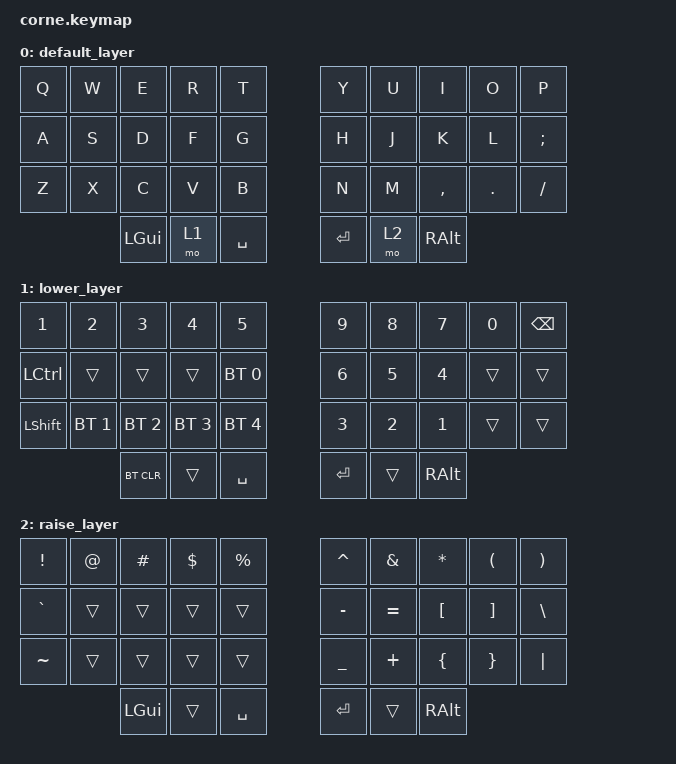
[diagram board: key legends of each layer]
#include <behaviors.dtsi>
#include <dt-bindings/zmk/keys.h>
#include <dt-bindings/zmk/bt.h>

/ {
        chosen {
                zmk,physical-layout = &foostan_corne_5col_layout;
              };

        keymap {
                compatible = "zmk,keymap";

                default_layer {
// -----------------------------------------------------------------------------------------
//  |  Q  |  W  |  E  |  R  |  T  |   |  Y  |  U   |  I  |  O  |  P  |
//  |  A  |  S  |  D  |  F  |  G  |   |  H  |  J   |  K  |  L  |  ;  |
//  |  Z  |  X  |  C  |  V  |  B  |   |  N  |  M   |  ,  |  .  |  /  |
//              | GUI | LWR | SPC |   | ENT | RSE  | ALT |
                        bindings = <
   &kp Q &kp W &kp E    &kp R &kp T       &kp Y   &kp U &kp I     &kp O   &kp P    
   &kp A &kp S &kp D    &kp F &kp G       &kp H   &kp J &kp K     &kp L   &kp SEMI 
   &kp Z &kp X &kp C    &kp V &kp B       &kp N   &kp M &kp COMMA &kp DOT &kp FSLH 
               &kp LGUI &mo 1 &kp SPACE   &kp RET &mo 2 &kp RALT
                        >;
                };
                lower_layer {
// -----------------------------------------------------------------------------------------
//  |  TAB  |  2  |  3  |  4  |  5  |   |  9  |  8  |  7  |  0  | BKSP |
//  | CTRL  |     |     |     | BT1 |   |  6  |  5  |  4  |     |      |
//  | SHFT  | BT2 | BT3 | BT4 | BT5 |   |  3  |  2  |  1  |     |      |
//                |BTCLR|     | SPC |   | ENT |     | ALT |
                        bindings = <
       
    &kp N1       &kp N2       &kp N3       &kp N4       &kp N5         &kp N9      &kp N8      &kp N7      &kp N0       &kp BSPC
    &kp LCTRL    &trans       &trans       &trans       &bt BT_SEL 0   &kp N6      &kp N5      &kp N4      &trans       &trans
    &kp LSHFT    &bt BT_SEL 1 &bt BT_SEL 2 &bt BT_SEL 3 &bt BT_SEL 4   &kp N3      &kp N2      &kp N1      &trans       &trans
                              &bt BT_CLR   &trans       &kp SPACE      &kp RET     &trans      &kp RALT
                        >;   
                };

                raise_layer {
// -----------------------------------------------------------------------------------------
// |  !   |  @  |  #  |  $  |  %  |     |  ^  |  &  |  *  |  (  |  )  |
// |  `   |     |     |     |     |     |  -  |  =  |  [  |  ]  |  \  |
// |  ~   |     |     |     |     |     |  _  |  +  |  {  |  }  | "|" |
//              | GUI |     | SPC |     | ENT |     | ALT |
                        bindings = <

    &kp EXCL     &kp AT    &kp HASH    &kp DLLR    &kp PRCNT          &kp CARET    &kp AMPS     &kp ASTRK    &kp LPAR    &kp RPAR
    &kp GRAVE    &trans    &trans      &trans      &trans             &kp MINUS    &kp EQUAL    &kp LBKT     &kp RBKT    &kp BSLH
    &kp TILDE    &trans    &trans      &trans      &trans             &kp UNDER    &kp PLUS     &kp LBRC     &kp RBRC    &kp PIPE
                           &kp LGUI    &trans      &kp SPACE          &kp RET      &trans       &kp RALT   
                        >;
                };
        };
};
